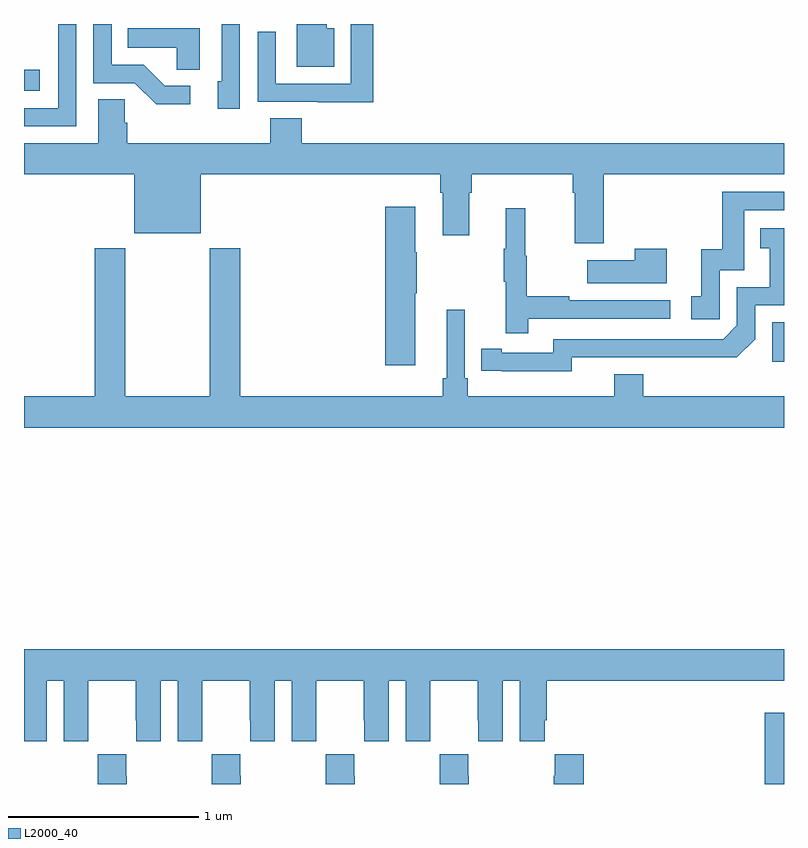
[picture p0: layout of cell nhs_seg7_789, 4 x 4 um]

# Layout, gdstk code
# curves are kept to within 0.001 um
import gdstk
lib = gdstk.Library(unit=1e-6, precision=1e-09)
def R(c, l, rs):  # rectangles x0, y0, x1, y1
    for r in rs: c.add(gdstk.rectangle(r[:2], r[2:], *l))
def P(c, l, *ps):  # polygons
    for p in ps: c.add(gdstk.Polygon(p, *l))
L2000_40 = (2000, 40)

nhs_seg7_789 = lib.new_cell('nhs_seg7_789')
R(nhs_seg7_789, L2000_40, [(172.898,1072,173,1072.375), (172.938,1074.222,173,1074.429), (169,1075.649,169.084,1075.759)])
P(nhs_seg7_789, L2000_40, [(170.136,1076),(170.04,1076),(170.04,1075.698),(170.021,1075.698),(170.021,1075.554),(170.136,1075.554)],
  [(169.275,1076),(169.179,1076),(169.179,1075.557),(169,1075.557),(169,1075.461),(169.275,1075.461)],
  [(170.837,1076),(170.721,1076),(170.721,1075.686),(170.325,1075.686),(170.325,1075.96),(170.229,1075.96),(170.229,1075.59),(170.545,1075.59),(170.545,1075.589),(170.837,1075.589)],
  [(169.876,1075.674),(169.741,1075.674),(169.63,1075.785),(169.461,1075.785),(169.461,1076),(169.365,1076),(169.365,1075.689),(169.584,1075.689),(169.697,1075.577),(169.876,1075.577)],
  [(170.632,1075.978),(170.593,1075.978),(170.593,1076),(170.435,1076),(170.435,1075.775),(170.632,1075.775)],
  [(169.924,1075.978),(169.546,1075.978),(169.546,1075.874),(169.803,1075.874),(169.803,1075.759),(169.924,1075.759)],
  [(172.052,1075.208),(173,1075.208),(173,1075.372),(170.462,1075.372),(170.462,1075.505),(170.297,1075.505),(170.297,1075.372),(169.544,1075.372),(169.544,1075.481),(169.53,1075.481),(169.53,1075.604),(169.391,1075.604),(169.391,1075.372),(169,1075.372),(169,1075.208),(169.58,1075.208),(169.58,1074.899),(169.93,1074.899),(169.93,1075.208),(171.191,1075.208),(171.191,1075.112),(171.203,1075.112),(171.203,1074.888),(171.343,1074.888),(171.343,1075.112),(171.356,1075.112),(171.356,1075.208),(171.887,1075.208),(171.887,1075.112),(171.899,1075.112),(171.899,1074.846),(172.052,1074.846)],
  [(172.662,1074.705),(172.791,1074.705),(172.791,1075.02),(173,1075.02),(173,1075.116),(172.675,1075.116),(172.675,1074.814),(172.565,1074.814),(172.565,1074.567),(172.512,1074.567),(172.512,1074.447),(172.662,1074.447)],
  [(171.058,1074.583),(171.066,1074.583),(171.066,1074.8),(171.058,1074.8),(171.058,1075.039),(170.9,1075.039),(170.9,1074.204),(171.058,1074.204)],
  [(171.653,1074.45),(172.402,1074.45),(172.402,1074.546),(171.869,1074.546),(171.869,1074.566),(171.646,1074.566),(171.646,1074.78),(171.638,1074.78),(171.638,1075.03),(171.536,1075.03),(171.536,1074.817),(171.525,1074.817),(171.525,1074.643),(171.536,1074.643),(171.536,1074.372),(171.653,1074.372)],
  [(171.882,1074.246),(172.75,1074.245),(172.848,1074.342),(172.848,1074.519),(173,1074.519),(173,1074.925),(172.876,1074.925),(172.876,1074.819),(172.925,1074.819),(172.925,1074.615),(172.752,1074.615),(172.752,1074.414),(172.68,1074.342),(171.786,1074.342),(171.786,1074.27),(171.514,1074.27),(171.514,1074.29),(171.406,1074.29),(171.406,1074.174),(171.882,1074.173)],
  [(173,1074.04),(172.259,1074.04),(172.259,1074.157),(172.106,1074.157),(172.106,1074.04),(171.335,1074.04),(171.335,1074.136),(171.321,1074.136),(171.321,1074.496),(171.224,1074.496),(171.224,1074.136),(171.205,1074.136),(171.205,1074.04),(170.138,1074.04),(170.138,1074.82),(169.978,1074.82),(169.978,1074.04),(169.533,1074.04),(169.533,1074.82),(169.373,1074.82),(169.373,1074.04),(169,1074.04),(169,1073.876),(173,1073.876)],
  [(172.384,1074.817),(172.214,1074.817),(172.214,1074.757),(171.965,1074.757),(171.965,1074.635),(172.384,1074.635)],
  [(169.12,1072.544),(169.208,1072.544),(169.208,1072.224),(169.338,1072.224),(169.338,1072.336),(169.339,1072.336),(169.339,1072.544),(169.589,1072.544),(169.589,1072.336),(169.59,1072.336),(169.59,1072.224),(169.72,1072.224),(169.72,1072.544),(169.808,1072.544),(169.808,1072.224),(169.938,1072.224),(169.938,1072.336),(169.939,1072.336),(169.939,1072.544),(170.189,1072.544),(170.189,1072.336),(170.19,1072.336),(170.19,1072.224),(170.32,1072.224),(170.32,1072.544),(170.408,1072.544),(170.408,1072.224),(170.538,1072.224),(170.538,1072.336),(170.539,1072.336),(170.539,1072.544),(170.789,1072.544),(170.789,1072.336),(170.79,1072.336),(170.79,1072.224),(170.92,1072.224),(170.92,1072.544),(171.008,1072.544),(171.008,1072.224),(171.138,1072.224),(171.138,1072.336),(171.139,1072.336),(171.139,1072.544),(171.389,1072.544),(171.389,1072.336),(171.39,1072.336),(171.39,1072.224),(171.52,1072.224),(171.52,1072.544),(171.608,1072.544),(171.608,1072.224),(171.742,1072.224),(171.742,1072.336),(171.752,1072.336),(171.752,1072.544),(173,1072.544),(173,1072.708),(169,1072.708),(169,1072.224),(169.12,1072.224)],
  [(169.542,1072.043),(169.539,1072.043),(169.539,1072.156),(169.389,1072.156),(169.389,1072.043),(169.387,1072.043),(169.387,1072),(169.542,1072)],
  [(171.947,1072.156),(171.793,1072.156),(171.793,1072.043),(171.787,1072.043),(171.787,1072),(171.947,1072)],
  [(171.342,1072.043),(171.339,1072.043),(171.339,1072.156),(171.189,1072.156),(171.189,1072.043),(171.187,1072.043),(171.187,1072),(171.342,1072)],
  [(170.742,1072.043),(170.739,1072.043),(170.739,1072.156),(170.589,1072.156),(170.589,1072.043),(170.587,1072.043),(170.587,1072),(170.742,1072)],
  [(169.989,1072.156),(169.989,1072.043),(169.987,1072.043),(169.987,1072),(170.142,1072),(170.142,1072.043),(170.139,1072.043),(170.139,1072.156)])

lib.write_gds('nhs_seg7_789.gds')
